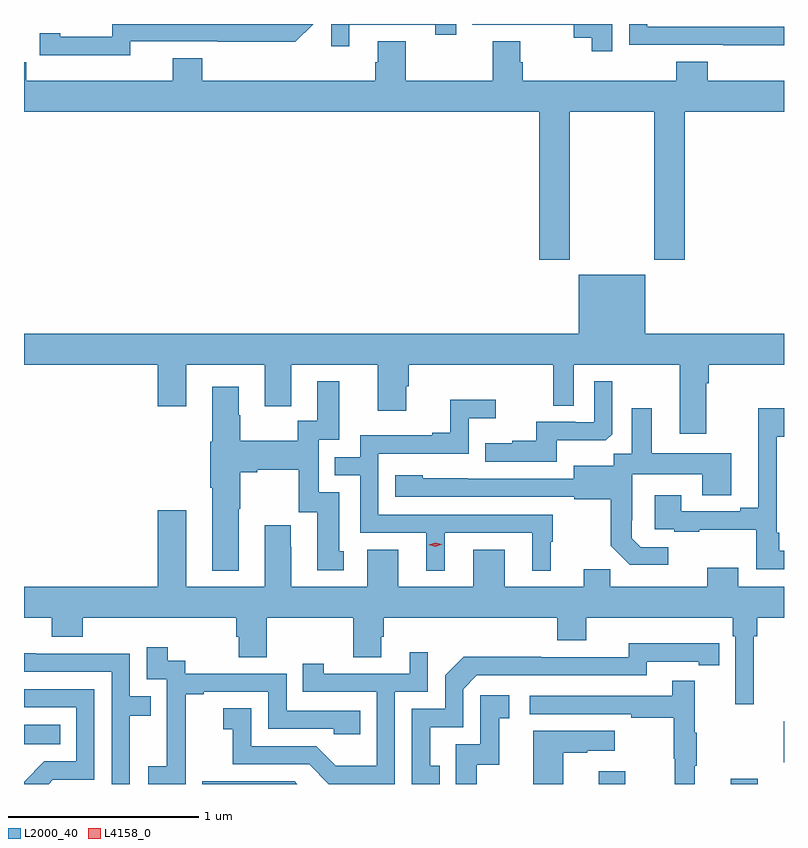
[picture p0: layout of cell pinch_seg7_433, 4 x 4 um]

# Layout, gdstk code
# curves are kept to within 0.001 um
import gdstk
lib = gdstk.Library(unit=1e-6, precision=1e-09)
def R(c, l, rs):  # rectangles x0, y0, x1, y1
    for r in rs: c.add(gdstk.rectangle(r[:2], r[2:], *l))
def P(c, l, *ps):  # polygons
    for p in ps: c.add(gdstk.Polygon(p, *l))
L2000_40 = (2000, 40)
L4158_0 = (4158, 0)

pinch_seg7_433 = lib.new_cell('pinch_seg7_433')
R(pinch_seg7_433, L2000_40, [(301.553,1046.362,301.693,1046.43), (302.249,1046.362,302.389,1046.389), (302.527,1046.476,302.528,1046.693), (298.528,1046.57,298.718,1046.674)])
P(pinch_seg7_433, L2000_40, [(301.623,1050.362),(300.888,1050.362),(300.888,1050.357),(301.422,1050.357),(301.422,1050.289),(301.515,1050.289),(301.515,1050.219),(301.623,1050.219)],
  [(299.088,1050.27),(299.956,1050.269),(300.05,1050.362),(298.992,1050.362),(298.992,1050.294),(298.72,1050.294),(298.72,1050.314),(298.612,1050.314),(298.612,1050.198),(299.088,1050.197)],
  [(302.528,1050.348),(301.809,1050.348),(301.809,1050.362),(301.713,1050.362),(301.713,1050.252),(302.209,1050.252),(302.209,1050.251),(302.528,1050.251)],
  [(300.241,1050.357),(300.692,1050.357),(300.692,1050.306),(300.803,1050.306),(300.803,1050.362),(300.144,1050.362),(300.144,1050.246),(300.241,1050.246)],
  [(301.401,1049.9),(301.846,1049.9),(301.846,1049.121),(302.006,1049.121),(302.006,1049.9),(302.528,1049.9),(302.528,1050.064),(302.126,1050.064),(302.126,1050.163),(301.961,1050.163),(301.961,1050.064),(301.154,1050.064),(301.154,1050.162),(301.141,1050.162),(301.141,1050.272),(300.994,1050.272),(300.994,1050.064),(300.537,1050.064),(300.537,1050.272),(300.389,1050.272),(300.389,1050.162),(300.377,1050.162),(300.377,1050.064),(299.465,1050.064),(299.465,1050.181),(299.312,1050.181),(299.312,1050.064),(298.541,1050.064),(298.541,1050.16),(298.528,1050.16),(298.528,1049.9),(301.241,1049.9),(301.241,1049.121),(301.401,1049.121)],
  [(298.528,1048.568),(299.231,1048.568),(299.231,1048.35),(299.383,1048.35),(299.383,1048.568),(299.795,1048.568),(299.795,1048.35),(299.935,1048.35),(299.935,1048.568),(300.389,1048.568),(300.389,1048.326),(300.541,1048.326),(300.541,1048.455),(300.554,1048.455),(300.554,1048.568),(301.314,1048.568),(301.314,1048.354),(301.422,1048.354),(301.422,1048.568),(301.979,1048.568),(301.979,1048.206),(302.119,1048.206),(302.119,1048.472),(302.132,1048.472),(302.132,1048.568),(302.528,1048.568),(302.528,1048.732),(301.798,1048.732),(301.798,1049.041),(301.448,1049.041),(301.448,1048.732),(298.528,1048.732)],
  [(301.333,1048.172),(301.591,1048.172),(301.623,1048.203),(301.623,1048.483),(301.53,1048.483),(301.53,1048.266),(301.43,1048.266),(301.43,1048.269),(301.223,1048.269),(301.223,1048.168),(301.099,1048.168),(301.099,1048.156),(300.955,1048.156),(300.955,1048.059),(301.333,1048.059)],
  [(299.659,1047.811),(299.667,1047.811),(299.667,1048.004),(299.755,1048.004),(299.755,1048.016),(299.975,1048.016),(299.975,1047.792),(300.071,1047.792),(300.071,1047.486),(300.211,1047.486),(300.211,1047.588),(300.187,1047.588),(300.187,1047.897),(300.078,1047.897),(300.078,1048.173),(300.187,1048.173),(300.187,1048.483),(300.071,1048.483),(300.071,1048.274),(299.97,1048.274),(299.97,1048.168),(299.667,1048.168),(299.667,1048.302),(299.659,1048.302),(299.659,1048.453),(299.519,1048.453),(299.519,1048.164),(299.507,1048.164),(299.507,1047.92),(299.519,1047.92),(299.519,1047.485),(299.659,1047.485)],
  [(300.742,1047.684),(301.202,1047.684),(301.202,1047.485),(301.3,1047.485),(301.3,1047.636),(301.312,1047.636),(301.312,1047.78),(300.393,1047.78),(300.393,1048.101),(300.87,1048.101),(300.87,1048.286),(301.012,1048.286),(301.012,1048.385),(300.772,1048.385),(300.772,1048.21),(300.677,1048.21),(300.677,1048.197),(300.297,1048.197),(300.297,1048.083),(300.163,1048.083),(300.163,1047.987),(300.297,1047.987),(300.297,1047.684),(300.644,1047.684),(300.644,1047.485),(300.742,1047.485)],
  [(302.528,1047.589),(302.503,1047.589),(302.503,1047.685),(302.49,1047.685),(302.49,1048.19),(302.528,1048.19),(302.528,1048.339),(302.393,1048.339),(302.393,1047.817),(302.297,1047.817),(302.297,1047.798),(301.987,1047.798),(301.987,1047.883),(301.847,1047.883),(301.847,1047.702),(301.951,1047.702),(301.951,1047.69),(302.083,1047.69),(302.083,1047.701),(302.382,1047.701),(302.382,1047.492),(302.528,1047.492)],
  [(301.918,1047.609),(301.773,1047.609),(301.726,1047.656),(301.726,1047.751),(301.728,1047.751),(301.728,1047.992),(302.099,1047.992),(302.099,1047.883),(302.251,1047.883),(302.251,1048.102),(301.831,1048.102),(301.831,1048.339),(301.727,1048.339),(301.727,1048.1),(301.632,1048.1),(301.632,1048.036),(301.421,1048.036),(301.421,1047.969),(300.627,1047.97),(300.627,1047.988),(300.483,1047.988),(300.483,1047.873),(301.425,1047.873),(301.425,1047.861),(301.617,1047.861),(301.617,1047.615),(301.717,1047.515),(301.918,1047.515)],
  [(302.368,1047.14),(302.387,1047.14),(302.387,1047.236),(302.528,1047.236),(302.528,1047.4),(302.287,1047.4),(302.287,1047.499),(302.123,1047.499),(302.123,1047.4),(301.613,1047.4),(301.613,1047.491),(301.475,1047.491),(301.475,1047.4),(301.057,1047.4),(301.057,1047.595),(300.893,1047.595),(300.893,1047.4),(300.499,1047.4),(300.499,1047.595),(300.335,1047.595),(300.335,1047.4),(299.935,1047.4),(299.935,1047.611),(299.932,1047.611),(299.932,1047.724),(299.795,1047.724),(299.795,1047.4),(299.383,1047.4),(299.383,1047.802),(299.231,1047.802),(299.231,1047.4),(298.528,1047.4),(298.528,1047.236),(298.673,1047.236),(298.673,1047.137),(298.838,1047.137),(298.838,1047.236),(299.645,1047.236),(299.645,1047.138),(299.657,1047.138),(299.657,1047.028),(299.805,1047.028),(299.805,1047.236),(300.262,1047.236),(300.262,1047.028),(300.409,1047.028),(300.409,1047.138),(300.422,1047.138),(300.422,1047.236),(301.334,1047.236),(301.334,1047.119),(301.486,1047.119),(301.486,1047.236),(302.258,1047.236),(302.258,1047.14),(302.271,1047.14),(302.271,1046.781),(302.368,1046.781)],
  [(300.716,1046.457),(300.667,1046.457),(300.667,1046.661),(300.84,1046.661),(300.84,1046.862),(300.912,1046.934),(301.806,1046.934),(301.806,1047.006),(302.078,1047.006),(302.078,1046.986),(302.186,1046.986),(302.186,1047.102),(301.71,1047.103),(301.71,1047.03),(301.25,1047.03),(301.25,1047.032),(300.842,1047.032),(300.744,1046.934),(300.744,1046.757),(300.57,1046.757),(300.57,1046.362),(300.716,1046.362)],
  [(299.379,1046.551),(299.378,1046.551),(299.378,1046.835),(299.473,1046.835),(299.473,1046.847),(299.814,1046.847),(299.814,1046.652),(300.159,1046.652),(300.159,1046.625),(300.299,1046.625),(300.299,1046.748),(299.91,1046.748),(299.91,1046.943),(299.376,1046.943),(299.376,1047.012),(299.284,1047.012),(299.284,1047.082),(299.175,1047.082),(299.175,1046.913),(299.28,1046.913),(299.28,1046.684),(299.279,1046.684),(299.279,1046.455),(299.181,1046.455),(299.181,1046.362),(299.379,1046.362)],
  [(300.48,1046.847),(300.654,1046.847),(300.654,1047.055),(300.557,1047.055),(300.557,1046.943),(300.106,1046.943),(300.106,1046.995),(299.995,1046.995),(299.995,1046.847),(300.384,1046.847),(300.384,1046.458),(300.17,1046.458),(300.066,1046.562),(299.724,1046.562),(299.724,1046.761),(299.577,1046.761),(299.577,1046.651),(299.626,1046.651),(299.626,1046.466),(300.029,1046.466),(300.133,1046.362),(300.48,1046.362)],
  [(299.085,1046.722),(299.195,1046.722),(299.195,1046.823),(299.085,1046.823),(299.085,1047.048),(298.589,1047.048),(298.589,1047.05),(298.528,1047.05),(298.528,1046.952),(298.989,1046.952),(298.989,1046.362),(299.085,1046.362)],
  [(302.057,1046.459),(302.068,1046.459),(302.068,1046.633),(302.057,1046.633),(302.057,1046.905),(301.939,1046.905),(301.939,1046.826),(301.191,1046.826),(301.191,1046.73),(301.723,1046.73),(301.723,1046.71),(301.947,1046.71),(301.947,1046.496),(301.954,1046.496),(301.954,1046.362),(302.057,1046.362)],
  [(298.68,1046.385),(298.899,1046.385),(298.899,1046.862),(298.528,1046.862),(298.528,1046.766),(298.803,1046.766),(298.803,1046.481),(298.634,1046.481),(298.528,1046.375),(298.528,1046.362),(298.657,1046.362)],
  [(300.91,1046.463),(301.028,1046.463),(301.028,1046.709),(301.081,1046.709),(301.081,1046.83),(300.93,1046.83),(300.93,1046.571),(300.801,1046.571),(300.801,1046.362),(300.91,1046.362)],
  [(301.366,1046.527),(301.493,1046.527),(301.493,1046.537),(301.636,1046.537),(301.636,1046.641),(301.208,1046.641),(301.208,1046.362),(301.366,1046.362)],
  [(299.952,1046.376),(299.466,1046.376),(299.466,1046.362),(299.966,1046.362)])
P(pinch_seg7_433, L4158_0, [(300.693,1047.612),(300.657,1047.621),(300.657,1047.621),(300.657,1047.621),(300.693,1047.632),(300.729,1047.623),(300.729,1047.623),(300.729,1047.623)])

lib.write_gds('pinch_seg7_433.gds')
